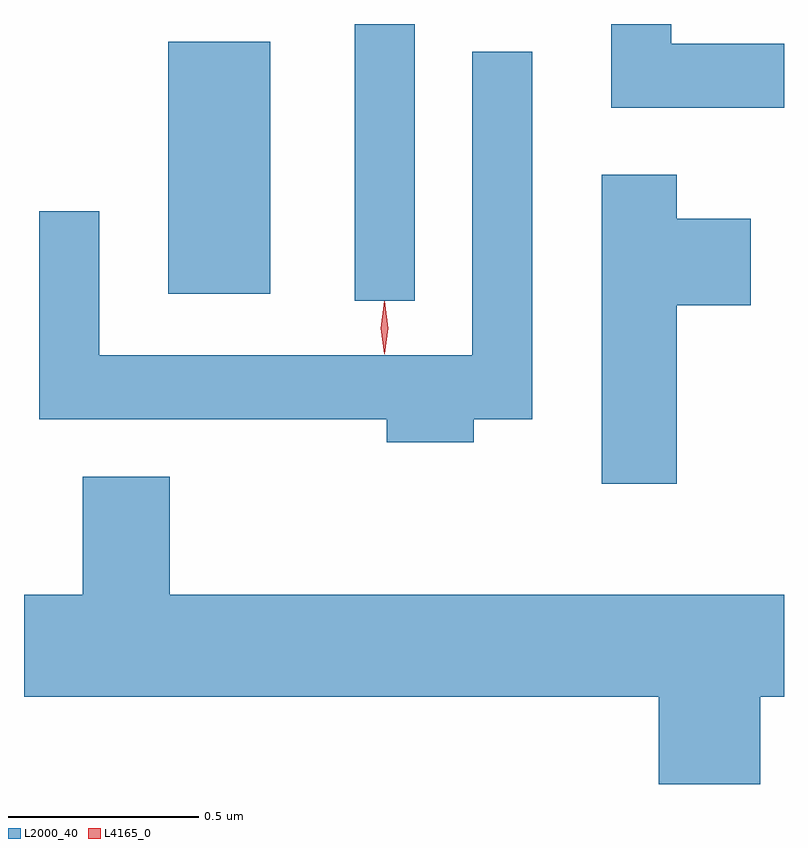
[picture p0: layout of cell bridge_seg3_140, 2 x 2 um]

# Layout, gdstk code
import gdstk
lib = gdstk.Library(unit=1e-6, precision=1e-09)
def R(c, l, rs):  # rectangles x0, y0, x1, y1
    for r in rs: c.add(gdstk.rectangle(r[:2], r[2:], *l))
def P(c, l, *ps):  # polygons
    for p in ps: c.add(gdstk.Polygon(p, *l))
L2000_40 = (2000, 40)
L4165_0 = (4165, 0)

bridge_seg3_140 = lib.new_cell('bridge_seg3_140')
R(bridge_seg3_140, L2000_40, [(873.616,1189.218,873.774,1189.946), (873.126,1189.236,873.394,1189.899)])
P(bridge_seg3_140, L2000_40, [(874.746,1189.894),(874.449,1189.894),(874.449,1189.946),(874.291,1189.946),(874.291,1189.726),(874.746,1189.726)],
  [(873.929,1188.906),(874.084,1188.906),(874.084,1189.873),(873.926,1189.873),(873.926,1189.074),(872.944,1189.074),(872.944,1189.453),(872.786,1189.453),(872.786,1188.906),(873.701,1188.906),(873.701,1188.846),(873.929,1188.846)],
  [(874.464,1189.206),(874.659,1189.206),(874.659,1189.434),(874.464,1189.434),(874.464,1189.549),(874.266,1189.549),(874.266,1188.736),(874.464,1188.736)],
  [(874.684,1188.176),(874.746,1188.176),(874.746,1188.444),(873.129,1188.444),(873.129,1188.754),(872.901,1188.754),(872.901,1188.444),(872.746,1188.444),(872.746,1188.176),(874.416,1188.176),(874.416,1187.946),(874.684,1187.946)])
P(bridge_seg3_140, L4165_0, [(873.695,1189.077),(873.694,1189.078),(873.685,1189.146),(873.694,1189.216),(873.695,1189.216),(873.695,1189.216),(873.705,1189.146),(873.695,1189.078)],
  [(873.695,1189.079),(873.694,1189.08),(873.685,1189.146),(873.694,1189.212),(873.695,1189.213),(873.695,1189.212),(873.705,1189.146),(873.695,1189.08)])

lib.write_gds('bridge_seg3_140.gds')
